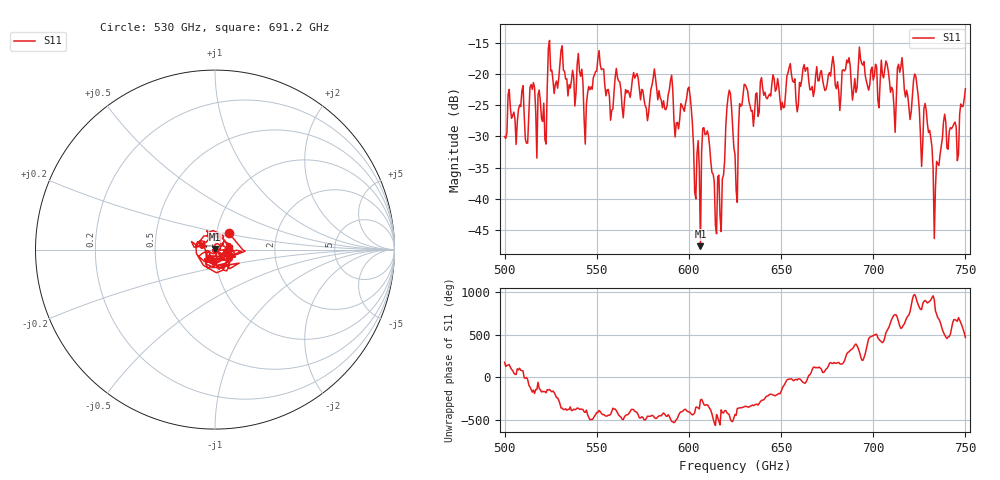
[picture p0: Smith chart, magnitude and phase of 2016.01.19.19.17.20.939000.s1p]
!Created with skrf (http://scikit-rf.org).
# GHz S RI R 50.0
!freq ReS11 ImS11
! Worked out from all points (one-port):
!   401 points, 500 GHz to 750 GHz, reference 50 ohm
!   lowest |S11| = -47.6 dB at 606.2 GHz (marker M1), VSWR 1.01, Z = 50 + j0.418 ohm
!   |S11| at or under -10 dB: start of sweep to end of sweep
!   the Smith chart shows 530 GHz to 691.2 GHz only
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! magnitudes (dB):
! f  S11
! 500 GHz  -30.0
! 508.8 GHz  -25.2
! 511.9 GHz  -31.1
! 515 GHz  -22.5
! 521.2 GHz  -24.7
! 524.4 GHz  -14.6
! 531.2 GHz  -15.5
! 544.4 GHz  -24.9
! 550.6 GHz  -17.4
! 562.5 GHz  -21.3
! 590 GHz  -21.0
! 593.8 GHz  -27.7
! 600 GHz  -22.1
! 603.1 GHz  -38.9
! 606.2 GHz  -47.6
! 609.4 GHz  -29.6
! 616.2 GHz  -36.2
! 621.9 GHz  -22.6
! 625 GHz  -32.8
! 630.6 GHz  -21.7
! 656.2 GHz  -21.1
! 687.5 GHz  -18.7
! 711.2 GHz  -25.3
! 714.4 GHz  -19.7
! 718.8 GHz  -23.5
! 723.1 GHz  -20.4
! 733.8 GHz  -38.2
! 750 GHz  -22.4
